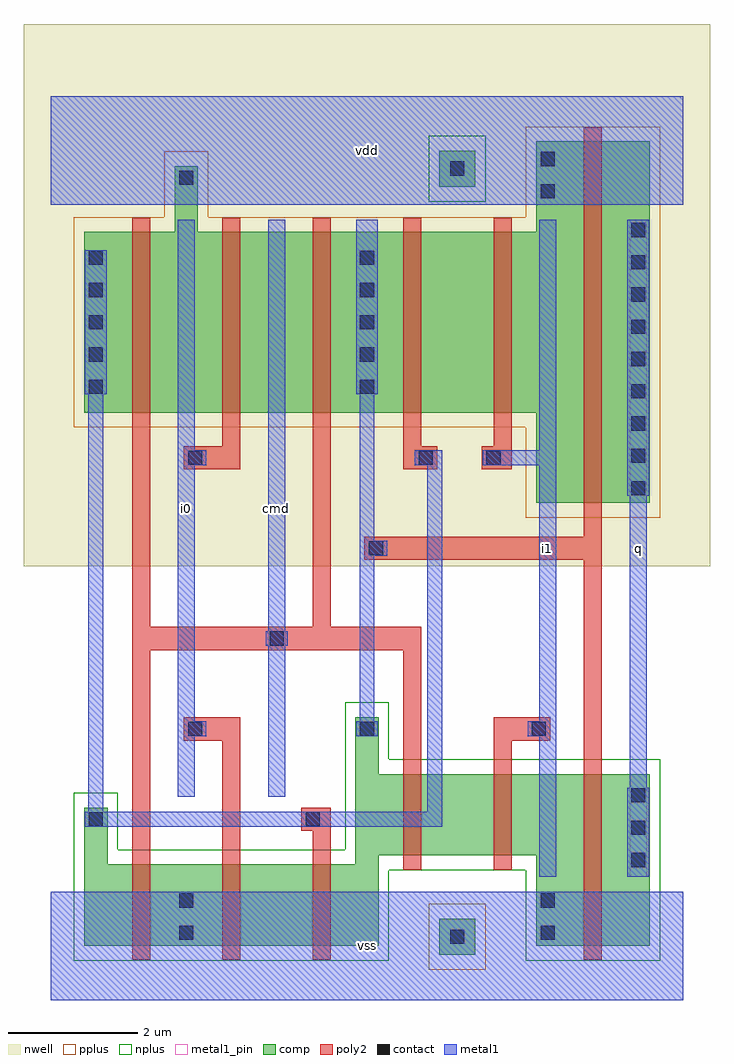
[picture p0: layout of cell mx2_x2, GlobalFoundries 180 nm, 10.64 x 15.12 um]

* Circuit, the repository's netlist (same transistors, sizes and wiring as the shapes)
* mx2_x2
.subckt mx2_x2 vdd q vss cmd i0 i1
Mp_net1_1 vdd _net1 q vdd pfet_03v3 l=0.28um w=5.6um
Mn_net1_1 vss _net1 q vss nfet_03v3 l=0.28um w=2.66um
Mp_net5_1 _net1 _net5 _net4 vdd pfet_03v3 l=0.28um w=2.8um
Mn_net5_1 _net2 _net5 _net1 vss nfet_03v3 l=0.28um w=1.26um
Mp_cmd_1 _net5 cmd vdd vdd pfet_03v3 l=0.28um w=2.8um
Mp_cmd_2 _net3 cmd _net1 vdd pfet_03v3 l=0.28um w=2.8um
Mn_cmd_1 _net5 cmd vss vss nfet_03v3 l=0.28um w=1.26um
Mn_cmd_2 _net1 cmd _net0 vss nfet_03v3 l=0.28um w=1.26um
Mn_i0_1 vss i0 _net2 vss nfet_03v3 l=0.28um w=1.26um
Mp_i0_1 vdd i0 _net3 vdd pfet_03v3 l=0.28um w=2.8um
Mp_i1_1 _net4 i1 vdd vdd pfet_03v3 l=0.28um w=2.8um
Mn_i1_1 _net0 i1 vss vss nfet_03v3 l=0.28um w=1.26um
.ends mx2_x2

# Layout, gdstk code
import gdstk
lib = gdstk.Library(unit=1e-6, precision=1e-09)
def R(c, l, rs):  # rectangles x0, y0, x1, y1
    for r in rs: c.add(gdstk.rectangle(r[:2], r[2:], *l))
def A(c, l, x, y, w, h, nx, ny, dx, dy):  # array of equal rectangles
    R(c, l, [(x+i*dx, y+j*dy, x+i*dx+w, y+j*dy+h) for i in range(nx) for j in range(ny)])
def P(c, l, *ps):  # polygons
    for p in ps: c.add(gdstk.Polygon(p, *l))
nwell = (21, 0)
comp = (22, 0)
poly2 = (30, 0)
pplus = (31, 0)
nplus = (32, 0)
contact = (33, 0)
metal1 = (34, 0)
metal1_pin = (34, 10)

mx2_x2 = lib.new_cell('mx2_x2')
R(mx2_x2, nwell, [(-0.42,6.72,10.22,15.12)])
R(mx2_x2, comp, [(6.02,0.7,6.58,1.26), (6.02,12.6,6.58,13.16)])
P(mx2_x2, comp, [(7.52,7.7),(7.52,9.1),(0.52,9.1),(0.52,11.9),(1.92,11.9),(1.92,12.92),(2.28,12.92),(2.28,11.9),(7.52,11.9),(7.52,13.3),(9.28,13.3),(9.28,7.7)],
  [(0.52,0.84),(0.52,2.98),(0.88,2.98),(0.88,2.1),(4.72,2.1),(4.72,4.38),(5.08,4.38),(5.08,3.5),(9.28,3.5),(9.28,0.84),(7.52,0.84),(7.52,2.24),(5.08,2.24),(5.08,0.84)])
P(mx2_x2, poly2, [(8.26,0.62),(8.26,6.82),(4.86,6.82),(4.86,7.18),(8.26,7.18),(8.26,13.52),(8.54,13.52),(8.54,0.62)],
  [(5.46,8.22),(5.46,12.12),(5.74,12.12),(5.74,8.58),(5.99,8.58),(5.99,8.22)],
  [(4.06,0.62),(4.06,2.62),(3.88,2.62),(3.88,2.98),(4.34,2.98),(4.34,0.62)],
  [(1.26,0.62),(1.26,12.12),(1.54,12.12),(1.54,5.78),(4.06,5.78),(4.06,12.12),(4.34,12.12),(4.34,5.78),(5.74,5.78),(5.74,2.02),(5.46,2.02),(5.46,5.42),(1.54,5.42),(1.54,0.62)],
  [(2.66,0.62),(2.66,4.02),(2.06,4.02),(2.06,4.38),(2.94,4.38),(2.94,0.62)],
  [(2.06,8.22),(2.06,8.58),(2.66,8.58),(2.66,12.12),(2.94,12.12),(2.94,8.22)],
  [(6.86,2.02),(6.86,4.38),(7.74,4.38),(7.74,4.02),(7.14,4.02),(7.14,2.02)],
  [(6.68,8.22),(6.68,8.58),(6.86,8.58),(6.86,12.12),(7.14,12.12),(7.14,8.22)])
R(mx2_x2, pplus, [(5.86,0.47,6.74,1.49)])
P(mx2_x2, pplus, [(7.36,7.47),(7.36,8.87),(0.36,8.87),(0.36,12.13),(1.76,12.13),(1.76,13.15),(2.44,13.15),(2.44,12.13),(7.36,12.13),(7.36,13.53),(9.44,13.53),(9.44,7.47)])
R(mx2_x2, nplus, [(5.86,12.37,6.74,13.39)])
P(mx2_x2, nplus, [(0.36,0.61),(0.36,3.21),(1.04,3.21),(1.04,2.33),(4.56,2.33),(4.56,4.61),(5.24,4.61),(5.24,3.73),(9.44,3.73),(9.44,0.61),(7.36,0.61),(7.36,2.01),(5.24,2.01),(5.24,0.61)])
A(mx2_x2, contact, 8.99, 2.06, 0.22, 0.22, 1, 3, 0, 0.5)
A(mx2_x2, contact, 2.13, 4.09, 0.22, 0.22, 3, 1, 2.66, 0)
A(mx2_x2, contact, 8.99, 7.82, 0.22, 0.22, 1, 9, 0, 0.5)
A(mx2_x2, contact, 0.59, 9.39, 0.22, 0.22, 1, 5, 0, 0.5)
A(mx2_x2, contact, 4.79, 9.39, 0.22, 0.22, 1, 5, 0, 0.5)
R(mx2_x2, contact, [(6.19,0.87,6.41,1.09), (1.99,0.93,2.21,1.15), (7.59,0.93,7.81,1.15), (1.99,1.43,2.21,1.65), (7.59,1.43,7.81,1.65), (0.59,2.69,0.81,2.91), (3.95,2.69,4.17,2.91), (3.39,5.49,3.61,5.71), (4.93,6.89,5.15,7.11), (2.13,8.29,2.35,8.51), (5.7,8.29,5.92,8.51), (6.75,8.29,6.97,8.51), (7.59,12.42,7.81,12.64), (1.99,12.63,2.21,12.85), (6.19,12.77,6.41,12.99), (7.59,12.92,7.81,13.14)])
R(mx2_x2, metal1, [(0,0,9.8,1.68), (0,12.32,9.8,14)])
P(mx2_x2, metal1, [(8.93,1.91),(8.93,3.285),(8.97,3.285),(8.97,7.815),(8.93,7.815),(8.93,12.09),(9.27,12.09),(9.27,7.815),(9.23,7.815),(9.23,3.285),(9.27,3.285),(9.27,1.91)],
  [(4.73,4.085),(4.73,4.315),(4.785,4.315),(4.785,9.385),(4.73,9.385),(4.73,12.09),(5.07,12.09),(5.07,9.385),(5.015,9.385),(5.015,7.115),(5.21,7.115),(5.21,6.885),(5.015,6.885),(5.015,4.315),(5.07,4.315),(5.07,4.085)],
  [(0.53,2.685),(0.53,2.915),(0.585,2.915),(0.585,9.385),(0.53,9.385),(0.53,11.615),(0.87,11.615),(0.87,9.385),(0.815,9.385),(0.815,2.915),(5.835,2.915),(5.835,8.285),(5.64,8.285),(5.64,8.515),(6.065,8.515),(6.065,2.685)],
  [(3.37,3.145),(3.37,5.485),(3.33,5.485),(3.33,5.715),(3.37,5.715),(3.37,12.09),(3.63,12.09),(3.63,5.715),(3.67,5.715),(3.67,5.485),(3.63,5.485),(3.63,3.145)],
  [(1.97,3.145),(1.97,12.09),(2.23,12.09),(2.23,8.515),(2.41,8.515),(2.41,8.285),(2.23,8.285),(2.23,4.315),(2.41,4.315),(2.41,4.085),(2.23,4.085),(2.23,3.145)],
  [(7.57,1.91),(7.57,4.085),(7.39,4.085),(7.39,4.315),(7.57,4.315),(7.57,8.285),(6.69,8.285),(6.69,8.515),(7.57,8.515),(7.57,12.09),(7.83,12.09),(7.83,1.91)])
R(mx2_x2, metal1_pin, [(0,0,9.8,1.68), (7.57,1.91,7.83,12.09), (8.97,1.91,9.23,12.09), (1.97,3.145,2.23,12.09), (3.37,3.145,3.63,12.09), (0,12.32,9.8,14)])
mx2_x2.add(gdstk.Label('vdd', (4.9,13.16), layer=34, texttype=10))
mx2_x2.add(gdstk.Label('q', (9.1,7), layer=34, texttype=10))
mx2_x2.add(gdstk.Label('vss', (4.9,0.84), layer=34, texttype=10))
mx2_x2.add(gdstk.Label('cmd', (3.5,7.618), layer=34, texttype=10))
mx2_x2.add(gdstk.Label('i0', (2.1,7.618), layer=34, texttype=10))
mx2_x2.add(gdstk.Label('i1', (7.7,7), layer=34, texttype=10))

lib.write_gds('mx2_x2.gds')
